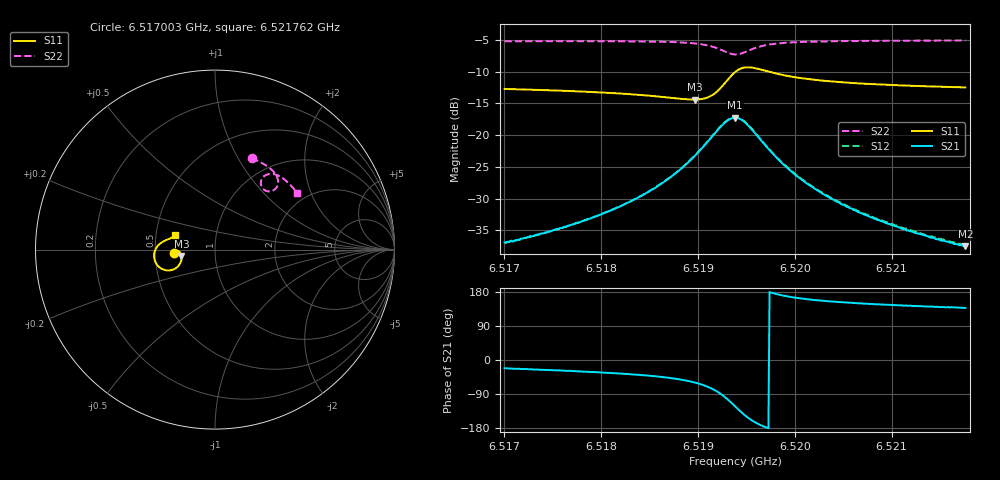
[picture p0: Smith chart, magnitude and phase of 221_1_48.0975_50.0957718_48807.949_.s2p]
#  HZ  S  RI  R  50.00
! Rohde & Schwarz Vector Network Analyzer
! Rohde-Schwarz,ZNB20-2Port,1311601062101988,3.16
! Created: UTC 12/23/2023, 3:56:45 AM
! freq[Hz]  re:S11  im:S11  re:S21  im:S21  re:S12  im:S12  re:S22  im:S22
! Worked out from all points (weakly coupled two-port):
!   401 points, 6.517003 GHz to 6.521762 GHz, reference 50 ohm
!   highest |S21| = -17.26 dB at 6.519383 GHz (marker M1); lowest = -37.5 dB at 6.521762 GHz (marker M2)
!   lowest |S11| = -14.4 dB at 6.518966 GHz (marker M3), VSWR 1.47, Z = 34.2 - j2.53 ohm
!   |S11| at or under -10 dB: start of sweep to 6.519389 GHz; 6.519728 GHz to end of sweep
!   |S22| runs from -7.3 to -5.1 dB; largest |S21 - S12| = 0.0042
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6.5170028e9  -0.2302 -0.017  0.0133 -0.00524  0.0132 -0.00486  0.2034 0.5092
6.5174668e9  -0.2251 -0.0103  0.0156 -0.00773  0.0158 -0.00726  0.2377 0.4946
6.5178e9  -0.2201 -0.00663  0.0181 -0.0107  0.0184 -0.00992  0.2623 0.4819
6.5182165e9  -0.212 -0.00458  0.0225 -0.0165  0.023 -0.0158  0.2937 0.4625
6.5185972e9  -0.2007 -0.00922  0.0289 -0.0281  0.03 -0.0272  0.3229 0.4377
6.5187876e9  -0.1934 -0.0178  0.033 -0.0395  0.0342 -0.0386  0.3377 0.4198
6.5189661e9  -0.187 -0.0356  0.035 -0.0589  0.0369 -0.058  0.3492 0.3952
6.5190732e9  -0.1869 -0.055  0.0316 -0.0776  0.0342 -0.0772  0.3515 0.3741
6.5191565e9  -0.1939 -0.0765  0.022 -0.0971  0.0251 -0.097  0.3467 0.3537
6.5192874e9  -0.2365 -0.1122  -0.0214 -0.1254  -0.0179 -0.1269  0.314 0.3256
6.5193826e9  -0.2938 -0.1085  -0.0726 -0.1162  -0.0699 -0.1191  0.2745 0.3328
6.5194302e9  -0.3186 -0.09  -0.0926 -0.0974  -0.0906 -0.1008  0.2606 0.3487
6.5194897e9  -0.3361 -0.0589  -0.1049 -0.0683  -0.1037 -0.0719  0.2551 0.3728
6.5195849e9  -0.3367 -0.0132  -0.1005 -0.0293  -0.1005 -0.0324  0.2671 0.4029
6.519692e9  -0.321 0.0181  -0.0834 -0.00482  -0.0841 -0.0074  0.29 0.4185
6.519918e9  -0.2897 0.0446  -0.0544 0.0114  -0.0553 0.00996  0.3296 0.4204
6.5201798e9  -0.2682 0.0547  -0.0364 0.0139  -0.0372 0.0131  0.3601 0.4085
6.5203345e9  -0.2598 0.0581  -0.0299 0.0138  -0.0309 0.0131  0.3739 0.3999
6.5205725e9  -0.2502 0.062  -0.0232 0.0128  -0.0239 0.0123  0.3922 0.3864
6.5209771e9  -0.2389 0.068  -0.0165 0.0113  -0.017 0.011  0.4182 0.3623
6.5213935e9  -0.2303 0.0737  -0.0121 0.0099  -0.0127 0.00974  0.4409 0.337
6.5217624e9  -0.224 0.0788  -0.00981 0.00904  -0.0101 0.0088  0.4589 0.3142
